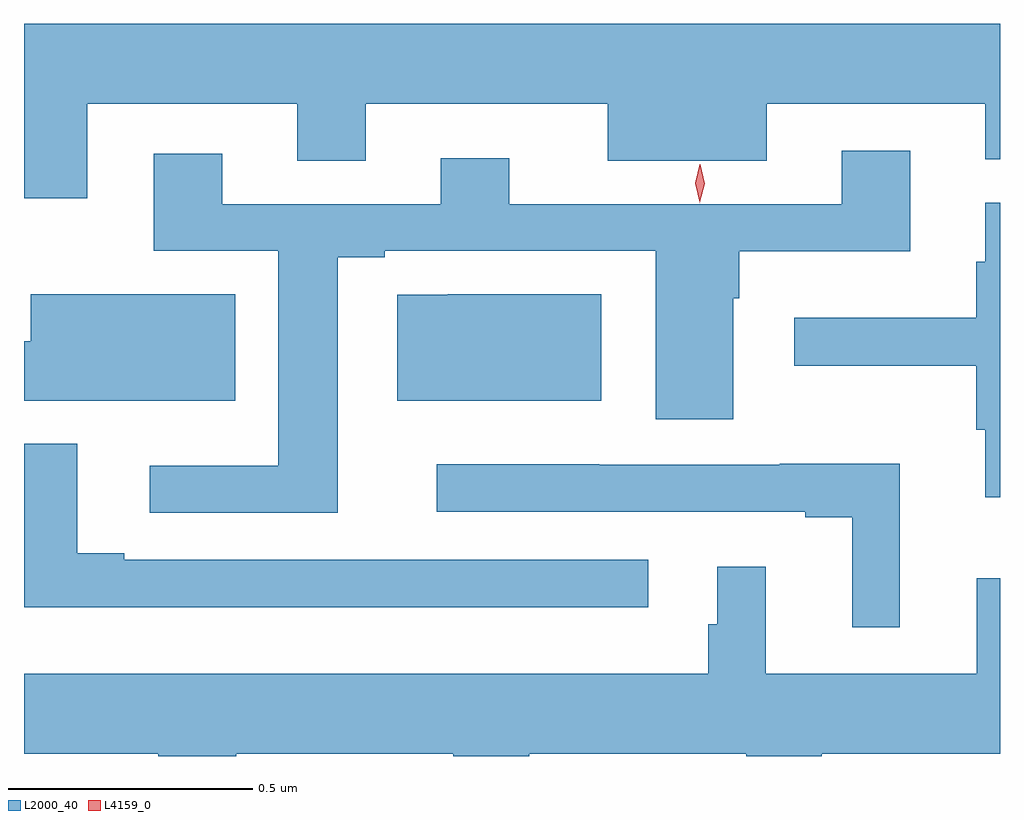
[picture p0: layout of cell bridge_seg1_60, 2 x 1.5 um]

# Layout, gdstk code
import gdstk
lib = gdstk.Library(unit=1e-6, precision=1e-09)
def P(c, l, *ps):  # polygons
    for p in ps: c.add(gdstk.Polygon(p, *l))
L2000_40 = (2000, 40)
L4159_0 = (4159, 0)

bridge_seg1_60 = lib.new_cell('bridge_seg1_60')
P(bridge_seg1_60, L2000_40, [(441.361,563.72),(441.791,563.72),(441.791,563.603),(441.931,563.603),(441.931,563.72),(442.427,563.72),(442.427,563.603),(442.753,563.603),(442.753,563.72),(443.201,563.72),(443.201,563.606),(443.231,563.606),(443.231,563.884),(441.231,563.884),(441.231,563.526),(441.361,563.526)],
  [(441.874,563.405),(441.97,563.405),(441.97,563.418),(442.526,563.418),(442.526,563.073),(442.684,563.073),(442.684,563.321),(442.697,563.321),(442.697,563.417),(443.047,563.417),(443.047,563.623),(442.907,563.623),(442.907,563.514),(442.225,563.514),(442.225,563.608),(442.085,563.608),(442.085,563.514),(441.637,563.514),(441.637,563.617),(441.497,563.617),(441.497,563.418),(441.752,563.418),(441.752,562.978),(441.489,562.978),(441.489,562.881),(441.874,562.881)],
  [(443.231,563.517),(443.201,563.517),(443.201,563.396),(443.182,563.396),(443.182,563.281),(442.809,563.281),(442.809,563.183),(443.182,563.183),(443.182,563.052),(443.201,563.052),(443.201,562.913),(443.231,562.913)],
  [(442.414,563.329),(442.099,563.329),(442.099,563.328),(441.996,563.328),(441.996,563.111),(442.414,563.111)],
  [(441.664,563.329),(441.245,563.329),(441.245,563.233),(441.231,563.233),(441.231,563.111),(441.664,563.111)],
  [(442.51,562.785),(441.436,562.785),(441.436,562.798),(441.34,562.798),(441.34,563.023),(441.231,563.023),(441.231,562.688),(442.51,562.688)],
  [(443.026,562.982),(442.78,562.982),(442.78,562.98),(442.41,562.98),(442.41,562.981),(442.077,562.981),(442.077,562.884),(442.832,562.884),(442.832,562.872),(442.928,562.872),(442.928,562.647),(443.026,562.647)],
  [(441.666,562.388),(442.111,562.388),(442.111,562.382),(442.266,562.382),(442.266,562.388),(442.711,562.388),(442.711,562.382),(442.866,562.382),(442.866,562.388),(443.231,562.388),(443.231,562.747),(443.183,562.747),(443.183,562.552),(442.751,562.552),(442.751,562.771),(442.652,562.771),(442.652,562.653),(442.633,562.653),(442.633,562.552),(441.231,562.552),(441.231,562.388),(441.506,562.388),(441.506,562.382),(441.666,562.382)])
P(bridge_seg1_60, L4159_0, [(442.616,563.517),(442.616,563.518),(442.606,563.557),(442.616,563.596),(442.617,563.596),(442.617,563.596),(442.626,563.556),(442.616,563.518)])

lib.write_gds('bridge_seg1_60.gds')
